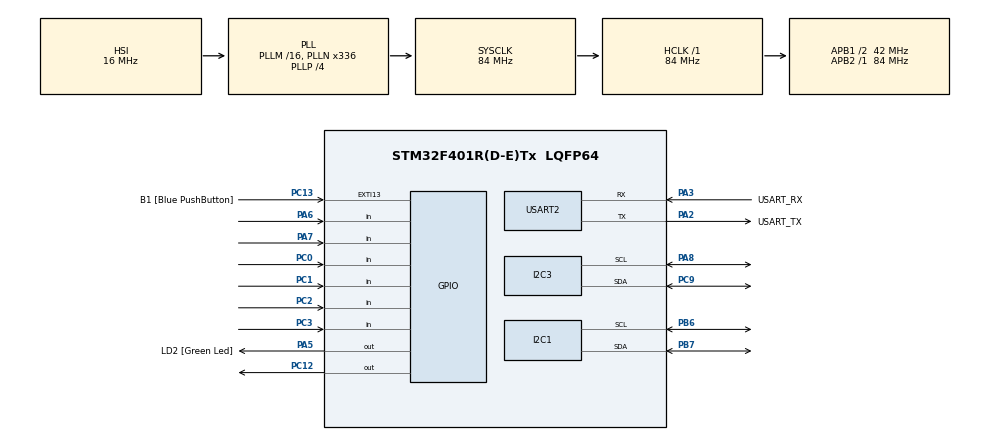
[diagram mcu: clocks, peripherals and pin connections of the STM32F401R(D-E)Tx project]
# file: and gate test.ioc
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I2C1.OwnAddress=0x4E
Mcu.Family=STM32F4
Mcu.Name=STM32F401R(D-E)Tx
Mcu.Package=LQFP64
NVIC.PriorityGroup=NVIC_PRIORITYGROUP_0
PA13.GPIO_Label=TMS
PA13.Mode=Trace_Asynchronous_SW
PA13.Signal=SYS_JTMS-SWDIO
PA14.GPIO_Label=TCK
PA14.Mode=Trace_Asynchronous_SW
PA14.Signal=SYS_JTCK-SWCLK
PA2.GPIO_Label=USART_TX
PA2.GPIO_Mode=GPIO_MODE_AF_PP
PA2.GPIO_PuPd=GPIO_NOPULL
PA2.GPIO_Speed=GPIO_SPEED_FREQ_LOW
PA2.Mode=Asynchronous
PA2.Signal=USART2_TX
PA3.GPIO_Label=USART_RX
PA3.GPIO_Mode=GPIO_MODE_AF_PP
PA3.GPIO_PuPd=GPIO_NOPULL
PA3.GPIO_Speed=GPIO_SPEED_FREQ_LOW
PA3.Mode=Asynchronous
PA3.Signal=USART2_RX
PA5.GPIO_Label=LD2 [Green Led]
PA5.GPIO_Mode=GPIO_MODE_OUTPUT_PP
PA5.GPIO_PuPd=GPIO_NOPULL
PA5.GPIO_Speed=GPIO_SPEED_FREQ_LOW
PA5.Signal=GPIO_Output
PA6.Signal=GPIO_Input
PA7.Signal=GPIO_Input
PA8.Mode=I2C
PA8.Signal=I2C3_SCL
PB3.GPIO_Label=SWO
PB3.Mode=Trace_Asynchronous_SW
PB3.Signal=SYS_JTDO-SWO
PB6.Mode=I2C
PB6.Signal=I2C1_SCL
PB7.Mode=I2C
PB7.Signal=I2C1_SDA
PC0.Signal=GPIO_Input
PC1.Signal=GPIO_Input
PC12.Signal=GPIO_Output
PC13-ANTI_TAMP.GPIO_Label=B1 [Blue PushButton]
PC13-ANTI_TAMP.GPIO_ModeDefaultEXTI=GPIO_MODE_IT_FALLING
PC13-ANTI_TAMP.GPIO_PuPd=GPIO_NOPULL
PC13-ANTI_TAMP.Signal=GPXTI13
PC14-OSC32_IN.Mode=LSE-External-Oscillator
PC14-OSC32_IN.Signal=RCC_OSC32_IN
PC15-OSC32_OUT.Mode=LSE-External-Oscillator
PC15-OSC32_OUT.Signal=RCC_OSC32_OUT
PC2.Signal=GPIO_Input
PC3.Signal=GPIO_Input
PC9.Mode=I2C
PC9.Signal=I2C3_SDA
PH0\ -\ OSC_IN.Mode=HSE-External-Clock-Source
PH0\ -\ OSC_IN.Signal=RCC_OSC_IN
PH1\ -\ OSC_OUT.Mode=HSE-External-Clock-Source
PH1\ -\ OSC_OUT.Signal=RCC_OSC_OUT
ProjectManager.HeapSize=0x200
ProjectManager.StackSize=0x400
ProjectManager.TargetToolchain=STM32CubeIDE
RCC.48MHZClocksFreq_Value=48000000
RCC.AHBFreq_Value=84000000
RCC.APB1CLKDivider=RCC_HCLK_DIV2
RCC.APB1Freq_Value=42000000
RCC.APB1TimFreq_Value=84000000
RCC.APB2Freq_Value=84000000
RCC.APB2TimFreq_Value=84000000
RCC.CortexFreq_Value=84000000
RCC.HCLKFreq_Value=84000000
RCC.HSE_VALUE=8000000
RCC.HSI_VALUE=16000000
RCC.PLLN=336
RCC.PLLP=RCC_PLLP_DIV4
RCC.PLLQ=7
RCC.SYSCLKFreq_VALUE=84000000
RCC.SYSCLKSource=RCC_SYSCLKSOURCE_PLLCLK
RCC.VCOOutputFreq_Value=336000000
RTC.Date=9
RTC.HourFormat=RTC_HOURFORMAT_12
RTC.Month=RTC_MONTH_NOVEMBER
RTC.WeekDay=RTC_WEEKDAY_WEDNESDAY
RTC.Year=22
USART2.VirtualMode=VM_ASYNC
VP_RTC_VS_RTC_Activate.Mode=RTC_Enabled
VP_RTC_VS_RTC_Calendar.Mode=RTC_Calendar
board=NUCLEO-F401RE

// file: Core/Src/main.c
/* USER CODE BEGIN Header */
/**
  ******************************************************************************
  * @file           : main.c
  * @brief          : Main program body
  ******************************************************************************
  * @attention
  *
  * Copyright (c) 2022 STMicroelectronics.
  * All rights reserved.
  *
  * This software is licensed under terms that can be found in the LICENSE file
  * in the root directory of this software component.
  * If no LICENSE file comes with this software, it is provided AS-IS.
  *
  ******************************************************************************
  */
/* USER CODE END Header */
#include "main.h"
#include "LiquidCrystal_I2C.h"
#include "string.h"

/* USER CODE BEGIN Includes */

  // LCD defines
  #define ADDRESS 0x4E // Write to LCD
  #define COLS 16
  #define ROWS 2

  // Structs
  LiquidCrystal_LCD lcd0;
  I2C_HandleTypeDef hi2c1;

  // LCD 20x4

/* USER CODE END Includes */

/* USER CODE BEGIN PTD */
char time[30];
char date[30];
/* USER CODE END PTD */

/* USER CODE BEGIN PD */
RTC_TimeTypeDef sTime;
RTC_DateTypeDef sDate;
/* USER CODE END PD */

I2C_HandleTypeDef hi2c1;
I2C_HandleTypeDef hi2c3;

RTC_HandleTypeDef hrtc;

UART_HandleTypeDef huart2;

void SystemClock_Config(void);
static void MX_GPIO_Init(void);
static void MX_USART2_UART_Init(void);
static void MX_RTC_Init(void);
static void MX_I2C1_Init(void);
static void MX_I2C3_Init(void);
/* USER CODE BEGIN PFP */
#ifdef __GNUC__
#define PUTCHAR_PROTOTYPE int __io_putchar(int ch)
#else
#define PUTCHAR_PROTOTYPE int fputc(int ch, FILE *f)
#endif

PUTCHAR_PROTOTYPE
{
  HAL_UART_Transmit(&huart2, (uint8_t *)&ch, 1, HAL_MAX_DELAY);
  return ch;
}
/* USER CODE END PFP */

/* USER CODE BEGIN 0 */
float wetBulb(float temperature, float humidity){
	float answer = temperature * sqrt(atan(0.151977*(humidity + 8.313659))) + atan(temperature + humidity) - atan(humidity - 1.676331) + 0.00391838 * humidity * atan(0.023101*humidity)-4.686035;
	return answer;
}
/* USER CODE END 0 */

int count = 0;
  int daysOfMonth[] = {31,28,31,30,31,31,30,31,30,31};
  int currentMonth = 11;

  uint32_t AHT20_ADC_Raw;
  float AHT20_Temperature = 0;
  float AHT20_Humidity = 0;
  uint8_t AHT20_RX_Data[6];

  	char buffer3[30];
  	char buffer4[30];
  	uint8_t AHT20_TmpHum_Cmd[3] = {0xAC, 0x33, 0x00};
  	#define AHT20_ADDRESS (0x38 << 1)
int main(void)
{

  /* MCU Configuration--------------------------------------------------------*/

  /* Reset of all peripherals, Initializes the Flash interface and the Systick. */
  HAL_Init();

  /* Configure the system clock */
  SystemClock_Config();

  /* Initialize all configured peripherals */
  MX_GPIO_Init();
  MX_USART2_UART_Init();
  MX_RTC_Init();
  MX_I2C1_Init();
  MX_I2C3_Init();
  LiquidCrystal_I2C(&lcd0, &hi2c1, ADDRESS, COLS, ROWS);
    init(&lcd0);
    clear(&lcd0);
    home(&lcd0);
    HAL_Delay(20);
  HAL_I2C_Master_Transmit_IT(&hi2c3, AHT20_ADDRESS, (uint8_t *) 0xE1, 1);

  /*lcd_init();
  lcd_send_string("Hello world!");

  lcd_put_cur(1, 0);

  lcd_send_string("from Isaac");*/
  /* Infinite loop */
  /* USER CODE BEGIN WHILE */
  HAL_GPIO_WritePin(GPIOA, GPIO_PIN_7, GPIO_PIN_RESET);
  char buffer[256];
  char buffer2[256];
  int timer = 0;
  int status;
  while (1)
  {
    /* USER CODE END WHILE */
	if(count == 9){
		clear(&lcd0);
		HAL_RTC_GetTime(&hrtc, &sTime, RTC_FORMAT_BIN);
		HAL_RTC_GetDate(&hrtc, &sDate, RTC_FORMAT_BIN);

		sprintf(date, "Date: %02d.%02d.%02d\t",sDate.Date,sDate.Month,sDate.Year);
		sprintf(time, "Time: %02d.%02d.%02d\r\n",sTime.Hours, sTime.Minutes,sTime.Seconds);

		snprintf(buffer, sizeof buffer, "Time:%02d.%02d.%02d\r",sTime.Hours, sTime.Minutes,sTime.Seconds);
		snprintf(buffer2, sizeof buffer2, "Date:%02d.%02d.%02d\t",sDate.Date,sDate.Month,sDate.Year);
		HAL_UART_Transmit(&huart2, (uint8_t *) date , sizeof(date), 300);
		HAL_UART_Transmit(&huart2, (uint8_t *) time, sizeof(time), 300);

		HAL_I2C_Master_Transmit(&hi2c3, AHT20_ADDRESS, (uint8_t* ) 0x71, 1, HAL_MAX_DELAY);
		HAL_I2C_Master_Receive(&hi2c3, AHT20_ADDRESS, (uint8_t*) status, 1, HAL_MAX_DELAY);

		HAL_I2C_Master_Transmit_IT(&hi2c3, AHT20_ADDRESS, (uint8_t*)AHT20_TmpHum_Cmd, 3);

	  HAL_Delay(100); // Delay must be > 75 ms
	  HAL_I2C_Master_Receive_IT(&hi2c3, AHT20_ADDRESS, (uint8_t*)AHT20_RX_Data, 6);
	  printf(AHT20_RX_Data);
	  if(~AHT20_RX_Data[0] & 0x80){
		  AHT20_ADC_Raw = (((uint32_t)AHT20_RX_Data[3] & 15) << 16) | ((uint32_t)AHT20_RX_Data[4] << 8) | AHT20_RX_Data[5];
		  	  AHT20_Temperature = (float)(AHT20_ADC_Raw * 200.00 / 1048576.00) - 50.00;
		  	  AHT20_ADC_Raw = ((uint32_t)AHT20_RX_Data[1] << 12) | ((uint32_t)AHT20_RX_Data[2] << 4) | (AHT20_RX_Data[3] >> 4);
		  	  AHT20_Humidity = (float)(AHT20_ADC_Raw/1048576.00);
		  	  sprintf(buffer3,  "Temperature: %02f\t",AHT20_RX_Data[3]);
		  	  sprintf(buffer4,  "Humidity: %02f\r\n",AHT20_Humidity);
		  	  HAL_UART_Transmit(&huart2, (uint8_t *) (buffer3), sizeof(buffer3), 300);
		  	  HAL_UART_Transmit(&huart2, (uint8_t *) (buffer4), sizeof(buffer4), 300);
		  		//printf("WOAHHHHHHHHHHHH\n");
	  }
		/*pc2: month
pc3: day
pc1: hour
pc0: minute*/
		printToLCD(&lcd0,buffer, 13);
		//lcd_toggle_display_on_off();
		//lcd_send_string(("%s", buffer));
		setCursor(&lcd0, 0, 1);
		printToLCD(&lcd0,buffer2, 13);
		count = 0;
	}
	if(timer <= 0){
		//display(&lcd0);
		noDisplay(&lcd0);
		noBacklight(&lcd0);
		timer = 0;
		HAL_GPIO_WritePin(GPIOA, GPIO_PIN_5, GPIO_PIN_RESET);
	}
	if(HAL_GPIO_ReadPin(GPIOA, GPIO_PIN_6)){
		display(&lcd0);
		//noDisplay(&lcd0);
		HAL_GPIO_WritePin(GPIOA,GPIO_PIN_5,GPIO_PIN_SET);
		backlight(&lcd0);
		timer = 200;
	}

	if(HAL_GPIO_ReadPin(GPIOC,GPIO_PIN_0)){
		if(sTime.Minutes >= 59){
			sTime.Minutes = 0;
		}
		else{
			sTime.Minutes = sTime.Minutes + 1;
		}
		//sTime.Minutes = sTime.Minutes + 0x01;
		if (HAL_RTC_SetTime(&hrtc, &sTime, RTC_FORMAT_BIN) != HAL_OK)
		  {
		    Error_Handler();
		  }
		HAL_GPIO_WritePin(GPIOA,GPIO_PIN_5,GPIO_PIN_SET);
		HAL_Delay(500);
		HAL_GPIO_WritePin(GPIOA, GPIO_PIN_5, GPIO_PIN_RESET);
	}

	if(HAL_GPIO_ReadPin(GPIOC,GPIO_PIN_1)){
		if(sTime.Hours == 23){
			sTime.Hours = 0;
		}
		else{
			sTime.Hours = sTime.Hours + 1;
		}
		if (HAL_RTC_SetTime(&hrtc, &sTime, RTC_FORMAT_BIN) != HAL_OK)
		  {
		    Error_Handler();
		  }
		HAL_Delay(500);
	}
	if(HAL_GPIO_ReadPin(GPIOC,GPIO_PIN_2)){
		if(sDate.Month == 12){
			sDate.Month = 1;
			sDate.Year++;
		}
		else{
			sDate.Month++;
		}
		if (HAL_RTC_SetDate(&hrtc, &sDate, RTC_FORMAT_BIN) != HAL_OK)
		{
			Error_Handler();
		}
		HAL_Delay(500);
	}
	if(HAL_GPIO_ReadPin(GPIOC,GPIO_PIN_3)){
		if(sDate.Date == daysOfMonth[currentMonth - 1]){
			sDate.Date = 1;
			currentMonth = (currentMonth + 1) % 13;
		}
		else{
			sDate.Date++;
		}
		if (HAL_RTC_SetDate(&hrtc, &sDate, RTC_FORMAT_BIN) != HAL_OK)
		{
			Error_Handler();
		}
		HAL_Delay(500);
	}
	timer--;
	count++;
	HAL_Delay(50);
  }
}

void SystemClock_Config(void)
{
  RCC_OscInitTypeDef RCC_OscInitStruct = {0};
  RCC_ClkInitTypeDef RCC_ClkInitStruct = {0};

  /** Configure the main internal regulator output voltage
  */
  __HAL_RCC_PWR_CLK_ENABLE();
  __HAL_PWR_VOLTAGESCALING_CONFIG(PWR_REGULATOR_VOLTAGE_SCALE2);

  /** Initializes the RCC Oscillators according to the specified parameters
  * in the RCC_OscInitTypeDef structure.
  */
  RCC_OscInitStruct.OscillatorType = RCC_OSCILLATORTYPE_HSI|RCC_OSCILLATORTYPE_LSI;
  RCC_OscInitStruct.HSIState = RCC_HSI_ON;
  RCC_OscInitStruct.HSICalibrationValue = RCC_HSICALIBRATION_DEFAULT;
  RCC_OscInitStruct.LSIState = RCC_LSI_ON;
  RCC_OscInitStruct.PLL.PLLState = RCC_PLL_ON;
  RCC_OscInitStruct.PLL.PLLSource = RCC_PLLSOURCE_HSI;
  RCC_OscInitStruct.PLL.PLLM = 16;
  RCC_OscInitStruct.PLL.PLLN = 336;
  RCC_OscInitStruct.PLL.PLLP = RCC_PLLP_DIV4;
  RCC_OscInitStruct.PLL.PLLQ = 7;
  if (HAL_RCC_OscConfig(&RCC_OscInitStruct) != HAL_OK)
  {
    Error_Handler();
  }

  /** Initializes the CPU, AHB and APB buses clocks
  */
  RCC_ClkInitStruct.ClockType = RCC_CLOCKTYPE_HCLK|RCC_CLOCKTYPE_SYSCLK
                              |RCC_CLOCKTYPE_PCLK1|RCC_CLOCKTYPE_PCLK2;
  RCC_ClkInitStruct.SYSCLKSource = RCC_SYSCLKSOURCE_PLLCLK;
  RCC_ClkInitStruct.AHBCLKDivider = RCC_SYSCLK_DIV1;
  RCC_ClkInitStruct.APB1CLKDivider = RCC_HCLK_DIV2;
  RCC_ClkInitStruct.APB2CLKDivider = RCC_HCLK_DIV1;

  if (HAL_RCC_ClockConfig(&RCC_ClkInitStruct, FLASH_LATENCY_2) != HAL_OK)
  {
    Error_Handler();
  }
}

static void MX_I2C1_Init(void)
{

  hi2c1.Instance = I2C1;
  hi2c1.Init.ClockSpeed = 100000;
  hi2c1.Init.DutyCycle = I2C_DUTYCYCLE_2;
  hi2c1.Init.OwnAddress1 = 156;
  hi2c1.Init.AddressingMode = I2C_ADDRESSINGMODE_7BIT;
  hi2c1.Init.DualAddressMode = I2C_DUALADDRESS_DISABLE;
  hi2c1.Init.OwnAddress2 = 0;
  hi2c1.Init.GeneralCallMode = I2C_GENERALCALL_DISABLE;
  hi2c1.Init.NoStretchMode = I2C_NOSTRETCH_DISABLE;
  if (HAL_I2C_Init(&hi2c1) != HAL_OK)
  {
    Error_Handler();
  }

}

static void MX_I2C3_Init(void)
{

  hi2c3.Instance = I2C3;
  hi2c3.Init.ClockSpeed = 100000;
  hi2c3.Init.DutyCycle = I2C_DUTYCYCLE_2;
  hi2c3.Init.OwnAddress1 = 0;
  hi2c3.Init.AddressingMode = I2C_ADDRESSINGMODE_7BIT;
  hi2c3.Init.DualAddressMode = I2C_DUALADDRESS_DISABLE;
  hi2c3.Init.OwnAddress2 = 0;
  hi2c3.Init.GeneralCallMode = I2C_GENERALCALL_DISABLE;
  hi2c3.Init.NoStretchMode = I2C_NOSTRETCH_DISABLE;
  if (HAL_I2C_Init(&hi2c3) != HAL_OK)
  {
    Error_Handler();
  }

}

static void MX_RTC_Init(void)
{

  RTC_TimeTypeDef sTime = {0};
  RTC_DateTypeDef sDate = {0};

  /** Initialize RTC Only
  */
  hrtc.Instance = RTC;
  hrtc.Init.HourFormat = RTC_HOURFORMAT_12;
  hrtc.Init.AsynchPrediv = 127;
  hrtc.Init.SynchPrediv = 255;
  hrtc.Init.OutPut = RTC_OUTPUT_DISABLE;
  hrtc.Init.OutPutPolarity = RTC_OUTPUT_POLARITY_HIGH;
  hrtc.Init.OutPutType = RTC_OUTPUT_TYPE_OPENDRAIN;
  if (HAL_RTC_Init(&hrtc) != HAL_OK)
  {
    Error_Handler();
  }

  /** Initialize RTC and set the Time and Date
  */
  sTime.Hours = 0x1;
  sTime.Minutes = 0x0;
  sTime.Seconds = 0x0;
  sTime.TimeFormat = RTC_HOURFORMAT12_AM;
  sTime.DayLightSaving = RTC_DAYLIGHTSAVING_NONE;
  sTime.StoreOperation = RTC_STOREOPERATION_RESET;
  if (HAL_RTC_SetTime(&hrtc, &sTime, RTC_FORMAT_BCD) != HAL_OK)
  {
    Error_Handler();
  }
  sDate.WeekDay = RTC_WEEKDAY_WEDNESDAY;
  sDate.Month = RTC_MONTH_NOVEMBER;
  sDate.Date = 0x9;
  sDate.Year = 0x22;

  if (HAL_RTC_SetDate(&hrtc, &sDate, RTC_FORMAT_BCD) != HAL_OK)
  {
    Error_Handler();
  }

}

static void MX_USART2_UART_Init(void)
{

  huart2.Instance = USART2;
  huart2.Init.BaudRate = 115200;
  huart2.Init.WordLength = UART_WORDLENGTH_8B;
  huart2.Init.StopBits = UART_STOPBITS_1;
  huart2.Init.Parity = UART_PARITY_NONE;
  huart2.Init.Mode = UART_MODE_TX_RX;
  huart2.Init.HwFlowCtl = UART_HWCONTROL_NONE;
  huart2.Init.OverSampling = UART_OVERSAMPLING_16;
  if (HAL_UART_Init(&huart2) != HAL_OK)
  {
    Error_Handler();
  }

}

static void MX_GPIO_Init(void)
{
  GPIO_InitTypeDef GPIO_InitStruct = {0};

  /* GPIO Ports Clock Enable */
  __HAL_RCC_GPIOC_CLK_ENABLE();
  __HAL_RCC_GPIOH_CLK_ENABLE();
  __HAL_RCC_GPIOA_CLK_ENABLE();
  __HAL_RCC_GPIOB_CLK_ENABLE();

  /*Configure GPIO pin Output Level */
  HAL_GPIO_WritePin(LD2_GPIO_Port, LD2_Pin, GPIO_PIN_RESET);

  /*Configure GPIO pin Output Level */
  HAL_GPIO_WritePin(GPIOC, GPIO_PIN_12, GPIO_PIN_RESET);

  /*Configure GPIO pin : B1_Pin */
  GPIO_InitStruct.Pin = B1_Pin;
  GPIO_InitStruct.Mode = GPIO_MODE_IT_FALLING;
  GPIO_InitStruct.Pull = GPIO_NOPULL;
  HAL_GPIO_Init(B1_GPIO_Port, &GPIO_InitStruct);

  /*Configure GPIO pins : PC0 PC1 PC2 PC3 */
  GPIO_InitStruct.Pin = GPIO_PIN_0|GPIO_PIN_1|GPIO_PIN_2|GPIO_PIN_3;
  GPIO_InitStruct.Mode = GPIO_MODE_INPUT;
  GPIO_InitStruct.Pull = GPIO_NOPULL;
  HAL_GPIO_Init(GPIOC, &GPIO_InitStruct);

  /*Configure GPIO pin : LD2_Pin */
  GPIO_InitStruct.Pin = LD2_Pin;
  GPIO_InitStruct.Mode = GPIO_MODE_OUTPUT_PP;
  GPIO_InitStruct.Pull = GPIO_NOPULL;
  GPIO_InitStruct.Speed = GPIO_SPEED_FREQ_LOW;
  HAL_GPIO_Init(LD2_GPIO_Port, &GPIO_InitStruct);

  /*Configure GPIO pins : PA6 PA7 */
  GPIO_InitStruct.Pin = GPIO_PIN_6|GPIO_PIN_7;
  GPIO_InitStruct.Mode = GPIO_MODE_INPUT;
  GPIO_InitStruct.Pull = GPIO_NOPULL;
  HAL_GPIO_Init(GPIOA, &GPIO_InitStruct);

  /*Configure GPIO pin : PC12 */
  GPIO_InitStruct.Pin = GPIO_PIN_12;
  GPIO_InitStruct.Mode = GPIO_MODE_OUTPUT_PP;
  GPIO_InitStruct.Pull = GPIO_NOPULL;
  GPIO_InitStruct.Speed = GPIO_SPEED_FREQ_LOW;
  HAL_GPIO_Init(GPIOC, &GPIO_InitStruct);

}

void Error_Handler(void)
{
  __disable_irq();
  while (1)
  {
  }
}
